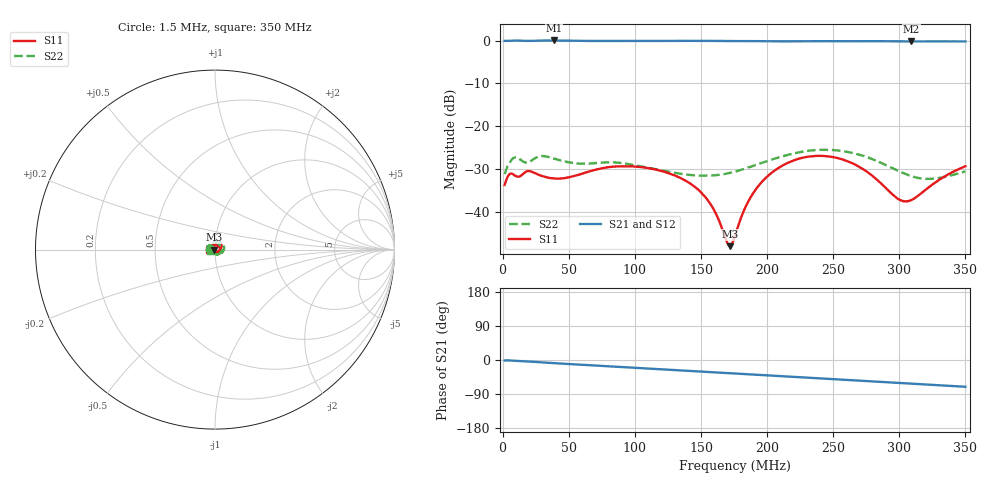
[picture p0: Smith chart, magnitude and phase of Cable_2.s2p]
# Hz S RI R 50
! RAW DATA - UNCALIBRATED
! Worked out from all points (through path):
!   1601 points, 1.5 MHz to 350 MHz, reference 50 ohm
!   highest |S21| = 0.04 dB at 38.96 MHz (marker M1); lowest = -0.2 dB at 309.1 MHz (marker M2)
!   group delay of S21, straight-line fit = 557 ps
!   lowest |S11| = -48.0 dB at 171.8 MHz (marker M3), VSWR 1.01, Z = 49.6 - j0.122 ohm
!   |S11| at or under -10 dB: start of sweep to end of sweep
!   |S22| runs from -32.3 to -25.5 dB; largest |S21 - S12| = 0.044
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1500000  -0.0207 0.0014  0.9921 -0.0244  0.9912 -0.0362  -0.0276 0.00237
5420625  -0.0272 0.00564  0.994 -0.0234  0.9916 -0.0291  -0.0378 0.0028
9123438  -0.0234 0.013  0.9999 -0.0369  0.9858 -0.0361  -0.0404 0.0154
2.023188e7  -0.013 0.0271  0.9891 -0.0709  0.9895 -0.0761  -0.0244 0.0297
3.896375e7  0.0127 0.0211  0.9937 -0.1441  0.986 -0.1353  0.00919 0.0408
5.965594e7  0.0254 0.0112  0.9708 -0.2144  0.9697 -0.2076  0.0266 0.0252
8.775375e7  0.0329 -0.00888  0.9403 -0.3079  0.9358 -0.2969  0.0373 -0.00418
1.178119e8  0.0225 -0.0209  0.904 -0.4088  0.9011 -0.39  0.0106 -0.0294
1.507016e8  0.0055 -0.0156  0.8528 -0.5097  0.8621 -0.4869  -0.0218 -0.0152
1.598497e8  0.00079 -0.0106  0.8339 -0.5356  0.8445 -0.5143  -0.0261 -0.0057
1.718294e8  -0.0038 -0.00122  0.8098 -0.5685  0.8199 -0.5471  -0.0273 0.00842
1.7575e8  -0.00476 0.00233  0.8 -0.5787  0.8116 -0.5562  -0.0265 0.0132
1.855516e8  -0.00528 0.0119  0.7787 -0.6056  0.7905 -0.5837  -0.0216 0.0249
1.975312e8  -0.00199 0.0237  0.7505 -0.6369  0.7647 -0.6136  -0.0103 0.0367
2.143028e8  0.0095 0.0353  0.712 -0.6748  0.73 -0.6515  0.012 0.0442
2.339059e8  0.0269 0.0358  0.6678 -0.7228  0.6905 -0.6998  0.0381 0.0357
2.639641e8  0.0357 0.0109  0.5869 -0.7895  0.6148 -0.7688  0.0491 -0.00215
2.920619e8  0.0143 -0.0103  0.5037 -0.8439  0.5345 -0.8231  0.0218 -0.0261
3.014278e8  0.00446 -0.0129  0.4747 -0.8569  0.5076 -0.8378  0.0102 -0.0273
3.090512e8  -0.00327 -0.0134  0.4526 -0.8671  0.4868 -0.8505  0.00142 -0.0262
3.258228e8  -0.018 -0.0113  0.4028 -0.8938  0.4396 -0.8759  -0.0142 -0.02
3.5e8  -0.0339 -0.00493  0.3242 -0.9233  0.3646 -0.9088  -0.0281 -0.00987
